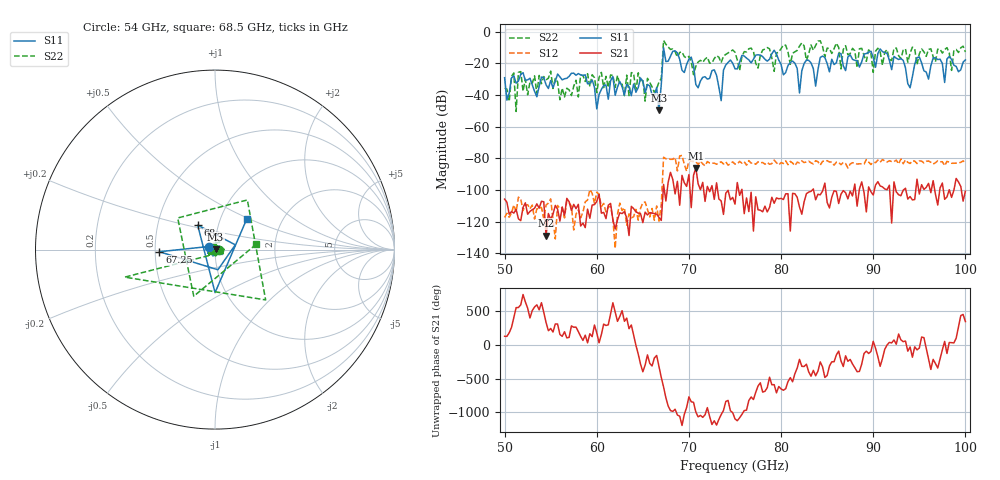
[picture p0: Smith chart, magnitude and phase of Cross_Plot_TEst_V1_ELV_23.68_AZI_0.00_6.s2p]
! 11/25/2026 1:19:20 PM
! C:\ANRITSUVNA\TEMP\TEMP.S2P
! CHANNEL.1
! TR.MEASUREMENT
! RAW.DATA
# HZ S RI R 50.0
! FREQ.HZ  S11RE  S11IM  S21RE  S21IM  S12RE  S12IM  S22RE  S22IM
!; PortSelection: Port_12
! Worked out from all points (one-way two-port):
!   201 points, 50 GHz to 100 GHz, reference 50 ohm
!   highest |S21| = -86.17 dB at 70.75 GHz (marker M1); lowest = -128.9 dB at 54.5 GHz (marker M2)
!   lowest |S11| = -49.7 dB at 66.75 GHz (marker M3), VSWR 1.01, Z = 50.3 + j0.0705 ohm
!   |S11| at or under -10 dB: start of sweep to end of sweep
!   |S22| runs from -50.4 to -5.6 dB; largest |S21 - S12| = 0.00014
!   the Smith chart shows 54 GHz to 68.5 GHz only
!   S11 on the Smith chart (normalised r, x): 54 GHz: 0.93, +0.03; 67.25 GHz: 0.53, -0.01; 68 GHz: 0.80, +0.22; 68.5 GHz: 1.33, +0.49
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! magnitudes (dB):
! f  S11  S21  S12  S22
! 50 GHz  -29.1  -105.8  -117.4  -35.8
! 51.25 GHz  -32.6  -112.3  -114.0  -50.4
! 51.5 GHz  -31.2  -118.3  -104.6  -25.7
! 54 GHz  -28.7  -107.2  -111.1  -32.9
! 54.5 GHz  -33.6  -128.9  -109.6  -30.5
! 58.5 GHz  -27.7  -121.0  -114.1  -27.7
! 60 GHz  -48.8  -107.3  -101.4  -38.6
! 61.75 GHz  -28.4  -119.0  -118.4  -27.7
! 66.75 GHz  -49.7  -117.4  -119.7  -31.9
! 67.25 GHz  -10.2  -96.6  -79.4  -5.6
! 68 GHz  -15.5  -88.9  -80.7  -11.3
! 68.5 GHz  -12.1  -102.6  -79.5  -12.7
! 70.75 GHz  -33.4  -86.2  -82.1  -21.9
! 72.75 GHz  -24.1  -106.0  -83.1  -17.0
! 73.5 GHz  -43.6  -107.0  -82.2  -19.7
! 73.75 GHz  -24.3  -115.5  -83.6  -15.4
! 75 GHz  -23.5  -109.0  -83.7  -13.0
! 83.5 GHz  -23.4  -99.4  -83.6  -11.8
! 91.75 GHz  -18.1  -97.1  -81.6  -17.6
! 94 GHz  -35.5  -104.3  -83.3  -13.7
! 94.75 GHz  -16.5  -93.2  -83.4  -20.9
! 100 GHz  -17.9  -100.9  -82.7  -12.9
